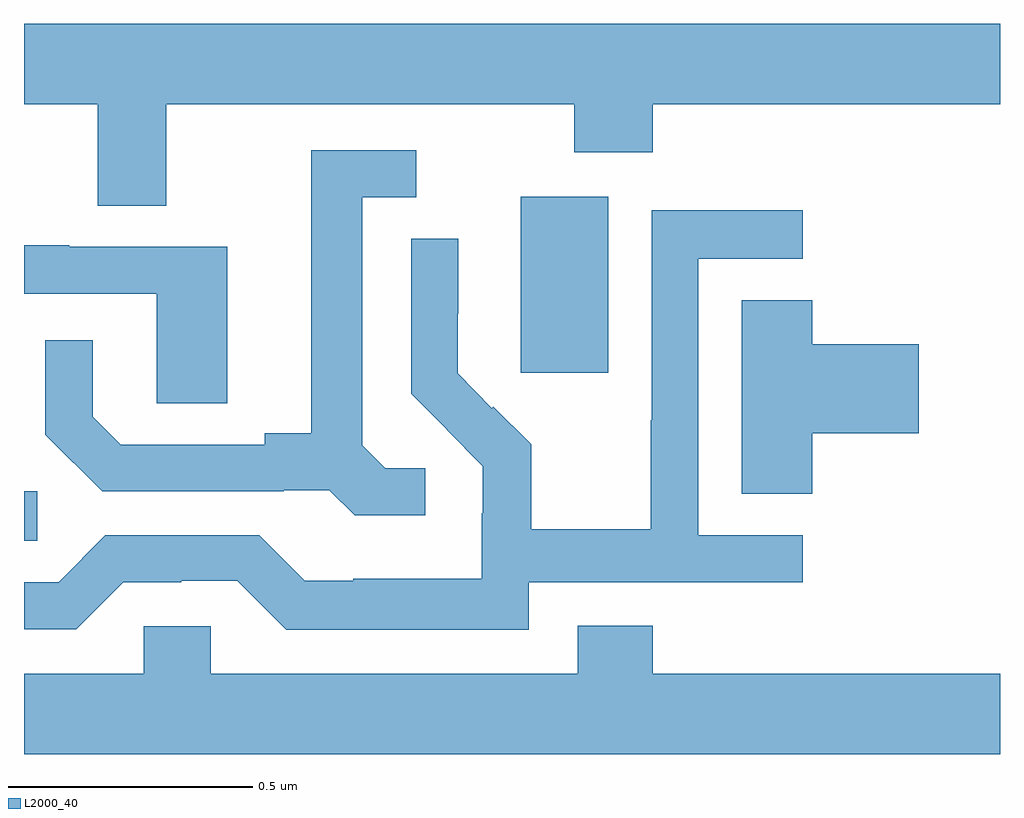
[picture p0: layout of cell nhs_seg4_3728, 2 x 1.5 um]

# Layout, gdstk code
import gdstk
lib = gdstk.Library(unit=1e-6, precision=1e-09)
def R(c, l, rs):  # rectangles x0, y0, x1, y1
    for r in rs: c.add(gdstk.rectangle(r[:2], r[2:], *l))
def P(c, l, *ps):  # polygons
    for p in ps: c.add(gdstk.Polygon(p, *l))
L2000_40 = (2000, 40)

nhs_seg4_3728 = lib.new_cell('nhs_seg4_3728')
R(nhs_seg4_3728, L2000_40, [(157,754.633,157.027,754.734), (158.018,754.977,158.197,755.338)])
P(nhs_seg4_3728, L2000_40, [(157.291,755.528),(158.128,755.528),(158.128,755.429),(158.288,755.429),(158.288,755.528),(159,755.528),(159,755.692),(157,755.692),(157,755.528),(157.151,755.528),(157.151,755.32),(157.291,755.32)],
  [(157.822,754.782),(157.74,754.782),(157.693,754.829),(157.693,755.337),(157.804,755.337),(157.804,755.433),(157.589,755.433),(157.589,754.853),(157.493,754.853),(157.493,754.83),(157.198,754.83),(157.141,754.887),(157.141,755.044),(157.044,755.044),(157.044,754.85),(157.16,754.734),(157.532,754.734),(157.532,754.737),(157.626,754.737),(157.678,754.685),(157.822,754.685)],
  [(158.034,754.548),(158.596,754.548),(158.596,754.644),(158.382,754.644),(158.382,755.211),(158.596,755.211),(158.596,755.31),(158.286,755.31),(158.286,754.88),(158.284,754.88),(158.284,754.657),(158.039,754.657),(158.039,754.831),(157.962,754.908),(157.959,754.905),(157.889,754.976),(157.889,755.098),(157.89,755.098),(157.89,755.252),(157.794,755.252),(157.794,754.934),(157.867,754.861),(157.866,754.86),(157.94,754.786),(157.94,754.689),(157.938,754.689),(157.938,754.555),(157.675,754.555),(157.675,754.551),(157.575,754.551),(157.482,754.644),(157.167,754.644),(157.071,754.548),(157,754.548),(157,754.452),(157.107,754.452),(157.203,754.548),(157.322,754.548),(157.322,754.551),(157.437,754.551),(157.537,754.451),(158.034,754.451)],
  [(157.417,755.235),(157.093,755.235),(157.093,755.239),(157,755.239),(157,755.139),(157.272,755.139),(157.272,754.915),(157.417,754.915)],
  [(158.615,754.853),(158.833,754.853),(158.833,755.036),(158.615,755.036),(158.615,755.126),(158.471,755.126),(158.471,754.729),(158.615,754.729)],
  [(159,754.36),(158.288,754.36),(158.288,754.459),(158.135,754.459),(158.135,754.36),(157.383,754.36),(157.383,754.458),(157.245,754.458),(157.245,754.36),(157,754.36),(157,754.196),(159,754.196)])

lib.write_gds('nhs_seg4_3728.gds')
